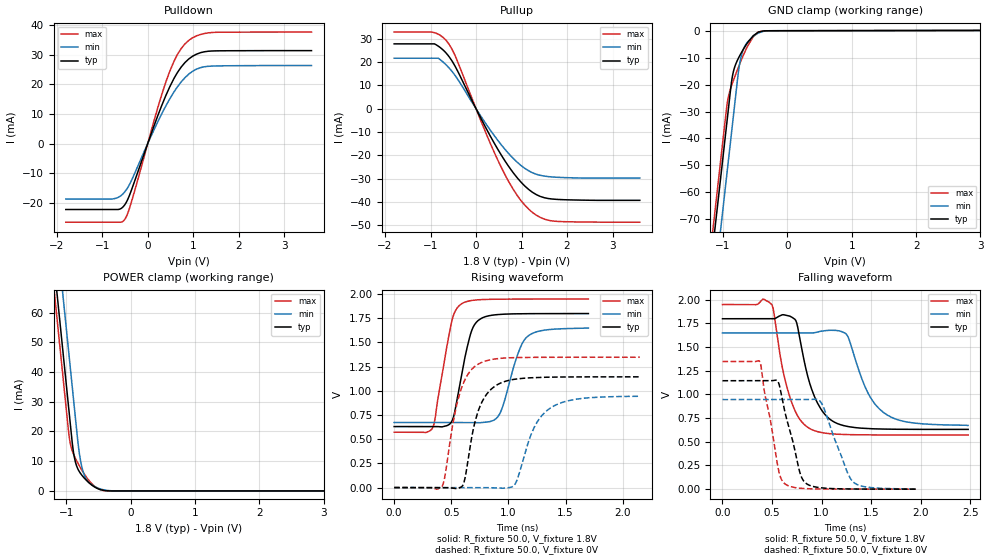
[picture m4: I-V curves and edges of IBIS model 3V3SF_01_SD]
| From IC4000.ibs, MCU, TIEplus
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[Model] 3V3SF_01_SD
Model_type I/O
Polarity   Non-Inverting
Enable   Active-Low
| CAP_THRESHOLD on pad IO is "CMOS" :
| Rising=10.0% of vdde1v8   Falling=90.0% of vdde1v8
| C_comp min and max val. don't necessarily correlate with the min and max pvt
| but are the smallest and greatest pad capacitance found.
| var   typ   min   max
C_comp   1.39700pF  1.34055pF  1.49705pF
Vinl = 580.0mV
Vinh = 1.27V
Vmeas = 900.0mV   | Reference voltage for timing measurements
Cref  = 15.0pF   | Timing specification test load capacitance value
Rref  = 1.0MOhm   | Timing specification test load resistance value
Vref  = 1.8V   | Timing specification test load voltage
[Model Spec]
| TIME_THRESHOLD on pin ZI is "CORE" :
| Rising=50.0% of vdd   Falling=50.0% of vdd
Vmeas 900.00000mV 825.00000mV 975.00000mV
Vref 1.80000V 1.65000V 1.95000V
| variable   typ   min   max
[Temperature Range] 25.0 125.0 -40.0
| variable   typ   min   max
[Voltage Range] 1.8V 1.65V 1.95V
| variable   typ   min   max
[POWER Clamp Reference] 1.8V 1.65V 1.95V
| variable   typ   min   max
[GND Clamp Reference] 0V 0V 0V
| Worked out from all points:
|   slope of the pulldown table from 0 to 0.27 V, typ, clamps not added: 23.9 ohm
|   slope of the pullup table from 0 to 0.27 V, typ, clamps not added: 26.6 ohm
|   GND clamp passes 1 mA (typ) near -0.48 V on its own axis
|   POWER clamp passes 1 mA (typ) near -0.53 V on its own axis
|   rising waveform, R_fixture 50.0, V_fixture 1.8V: 20-80 % time 120ps typ, 148ps min, 122ps max; typ from 0.631 V to 1.8 V
|   falling waveform, R_fixture 50.0, V_fixture 1.8V: 20-80 % time 198ps typ, 248ps min, 179ps max; typ from 1.8 V to 0.631 V
|   rising waveform, R_fixture 50.0, V_fixture 0V: 20-80 % time 143ps typ, 196ps min, 141ps max; typ from 0 V to 1.15 V
|   falling waveform, R_fixture 50.0, V_fixture 0V: 20-80 % time 159ps typ, 199ps min, 138ps max; typ from 1.15 V to 0 V
[POWER Clamp]
-1.8V     205.4mA    224.3mA    197mA
-1.18V    73.7mA     92.59mA    65.32mA
-1.15V    67.33mA    86.21mA    58.94mA
-1.12V    60.95mA    79.84mA    52.57mA
-1.06V    48.21mA    67.09mA    39.82mA
-1.04V    43.96mA    62.84mA    35.57mA
-950mV    24.83mA    43.72mA    17.27mA
-870mV    10.67mA    26.72mA    11.43mA
-810mV    6.903mA    14.47mA    8.897mA
-750mV    5.031mA    7.231mA    6.647mA
-550mV    1.187mA    1.353mA    1.363mA
3.6V      0A         0A         0A
[GND Clamp]
-1.8V     -216.7mA   -235.8mA   -210.3mA
-1.21V    -91.31mA   -110.4mA   -84.92mA
-1.12V    -72.19mA   -91.31mA   -65.8mA
-1.04V    -55.19mA   -74.31mA   -48.8mA
-940mV    -33.94mA   -53.06mA   -27.67mA
-860mV    -17.66mA   -36.06mA   -19.86mA
-820mV    -13.54mA   -27.56mA   -17.22mA
-770mV    -10.64mA   -16.96mA   -14.08mA
-730mV    -8.79mA    -10.76mA   -11.68mA
-640mV    -5.176mA   -4.882mA   -6.772mA
-450mV    -492.8uA   -817.4uA   -452.4uA
3.6V      109.1uA    87.23uA    140.4uA
| variable   typ   min   max
[Pullup Reference] 1.8V 1.65V 1.95V
| variable   typ   min   max
[Pulldown Reference] 0V 0V 0V
[Pullup]
-1.8V     27.77mA    21.63mA    32.82mA
-920mV    27.77mA    21.63mA    32.59mA
-830mV    26.81mA    21.63mA    31.93mA
-630mV    23.2mA     18.24mA    28.58mA
-450mV    17.82mA    13.95mA    22.27mA
230mV     -8.713mA   -6.829mA   -11.03mA
570mV     -20.33mA   -15.84mA   -25.72mA
910mV     -29.71mA   -23.01mA   -37.29mA
1.24V     -35.8mA    -27.44mA   -44.43mA
1.5V      -38.12mA   -28.87mA   -47.27mA
1.75V     -38.81mA   -29.34mA   -48.21mA
3.6V      -39.25mA   -29.74mA   -48.61mA
[Pulldown]
-1.8V     -22.2mA    -18.67mA   -26.46mA
-780mV    -22.2mA    -18.67mA   -26.46mA
-610mV    -22.04mA   -17.76mA   -26.46mA
-500mV    -20.5mA    -16.16mA   -25.41mA
-360mV    -15.76mA   -12.53mA   -19.76mA
140mV     6.017mA    4.706mA    7.753mA
400mV     16.23mA    12.74mA    20.79mA
650mV     23.85mA    19.04mA    29.89mA
910mV     28.6mA     23.5mA     34.86mA
1.07V     30.1mA     25.07mA    36.27mA
1.33V     31.11mA    26.03mA    37.29mA
3.6V      31.31mA    26.28mA    37.56mA
[Ramp]
dV/dt_r 686.83044mV/142.6003ps 567.34935mV/196.26704ps 808.86927mV/140.91314ps
dV/dt_f 700.93528mV/197.57155ps 585.82866mV/248.40399ps 825.4008mV/179.20548ps
R_load = 50.0
| Removed startup time: 0s 0s 0s  .
| Removed end time: 1.68ns.
[Rising Waveform]
R_fixture   = 50.0
V_fixture   = 1.8V
V_fixture_min = 1.65V
V_fixture_max = 1.95V
0s        630.9mV    672.9mV    572.5mV
340ps     631.2mV    672.9mV    624.3mV
500ps     675.4mV    673mV      1.697V
590ps     1.163V     673mV      1.9V
680ps     1.627V     673mV      1.935V
770ps     1.754V     672.9mV    1.944V
920ps     1.79V      754.9mV    1.948V
1.08ns    1.797V     1.372V     1.949V
1.16ns    1.798V     1.554V     1.949V
1.7ns     1.799V     1.649V     1.949V
| Removed startup time: 0s 0s 0s  .
| Removed end time: 2.46ns.
[Falling Waveform]
R_fixture   = 50.0
V_fixture   = 1.8V
V_fixture_min = 1.65V
V_fixture_max = 1.95V
0s        1.799V     1.649V     1.949V
500ps     1.798V     1.649V     1.945V
620ps     1.841V     1.649V     1.206V
740ps     1.781V     1.649V     810.9mV
890ps     1.087V     1.649V     634.8mV
1.04ns    781.9mV    1.674V     590.9mV
1.25ns    664.7mV    1.636V     576.5mV
1.47ns    639.8mV    1.013V     573.2mV
1.67ns    633.7mV    778.9mV    572.5mV
2.48ns    630.9mV    672.9mV    572.5mV
| Removed startup time: 0s 0s 0s  .
| Removed end time: 2.13ns.
[Rising Waveform]
R_fixture   = 50.0
V_fixture   = 0V
V_fixture_min = 0V
V_fixture_max = 0V
0s        153.2uV    140.2uV    179uV
420ps     -546.1uV   125.4uV    13.56mV
530ps     -9.393mV   171.9uV    759.2mV
600ps     20.36mV    100.8uV    1.063V
740ps     806.1mV    73.39uV    1.279V
860ps     1.028V     -1.713mV   1.326V
1.05ns    1.119V     21.74mV    1.343V
1.22ns    1.136V     608.1mV    1.346V
1.39ns    1.142V     838.7mV    1.347V
2.15ns    1.145V     945.7mV    1.347V
| Removed startup time: 0s 0s 0s  .
| Removed end time: 1.93ns.
[Falling Waveform]
R_fixture   = 50.0
V_fixture   = 0V
V_fixture_min = 0V
V_fixture_max = 0V
0s        1.145V     945.7mV    1.347V
380ps     1.145V     945.7mV    1.341V
560ps     1.137V     945.7mV    231.8mV
640ps     771.8mV    945.8mV    49.11mV
790ps     148mV      945.8mV    9.496mV
860ps     49.92mV    945.8mV    5.047mV
1ns       14.01mV    907.3mV    1.817mV
1.26ns    2.554mV    178.5mV    582uV
1.33ns    1.774mV    66.88mV    498.1uV
1.95ns    162.5uV    154.4uV    185.3uV
